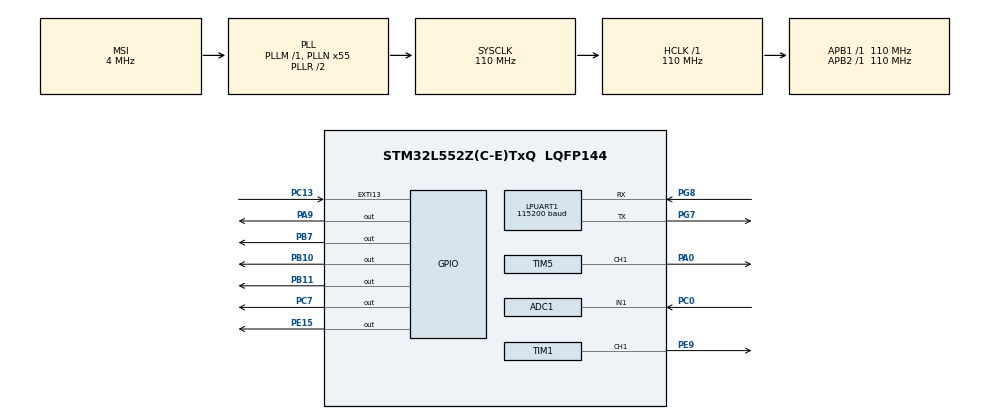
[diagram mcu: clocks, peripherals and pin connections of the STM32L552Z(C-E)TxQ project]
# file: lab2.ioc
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ADC1.Channel-0\#ChannelRegularConversion=ADC_CHANNEL_1
ADC1.NbrOfConversionFlag=1
ADC1.OffsetNumber-0\#ChannelRegularConversion=ADC_OFFSET_NONE
ADC1.Rank-0\#ChannelRegularConversion=1
ADC1.SamplingTime-0\#ChannelRegularConversion=ADC_SAMPLETIME_2CYCLES_5
ADC1.master=1
Dma.ADC1.0.Channel_PRIV_NPRIV=DMA_CHANNEL_NPRIV_DISABLE
Dma.ADC1.0.Direction=DMA_PERIPH_TO_MEMORY
Dma.ADC1.0.EventEnable=DISABLE
Dma.ADC1.0.Instance=DMA1_Channel1
Dma.ADC1.0.MemDataAlignment=DMA_MDATAALIGN_HALFWORD
Dma.ADC1.0.MemInc=DMA_MINC_ENABLE
Dma.ADC1.0.Mode=DMA_NORMAL
Dma.ADC1.0.PeriphDataAlignment=DMA_PDATAALIGN_HALFWORD
Dma.ADC1.0.PeriphInc=DMA_PINC_DISABLE
Dma.ADC1.0.Polarity=HAL_DMAMUX_REQ_GEN_RISING
Dma.ADC1.0.Priority=DMA_PRIORITY_LOW
Dma.ADC1.0.RequestNumber=1
Dma.ADC1.0.SignalID=NONE
Dma.ADC1.0.SyncEnable=DISABLE
Dma.ADC1.0.SyncPolarity=HAL_DMAMUX_SYNC_NO_EVENT
Dma.ADC1.0.SyncRequestNumber=1
Dma.ADC1.0.SyncSignalID=NONE
Dma.Request0=ADC1
FREERTOS.BinarySemaphores01=buttonSemaphore,Dynamic,NULL,Depleted;adcSemaphore,Dynamic,NULL,Depleted
FREERTOS.Queues01=logQueue,5,char *,0,Dynamic,NULL,NULL
FREERTOS.Tasks01=defaultTask,24,128,StartDefaultTask,Default,NULL,Dynamic,NULL,NULL;SysStatusTas,8,128,StartSysStatusTask,Default,NULL,Dynamic,NULL,NULL;LoggerTask,32,128,StartLoggerTask,Default,NULL,Dynamic,NULL,NULL;buttonTask,8,128,startButtonTask,Default,NULL,Dynamic,NULL,NULL;MotorTask,32,128,StartMotorTask,Default,NULL,Dynamic,NULL,NULL;UITask,8,128,StartUITask,Default,NULL,Dynamic,NULL,NULL
FREERTOS.Timers01=buzzerTimer,BuzzerTimerCallback,osTimerOnce,Default,NULL,Dynamic,NULL
LPUART1.BaudRate=115200
Mcu.Family=STM32L5
Mcu.Name=STM32L552Z(C-E)TxQ
Mcu.Package=LQFP144
Mcu.TrustZone=disable
NUCLEO-L552ZE-Q.BUTTON=1
NUCLEO-L552ZE-Q.Bsp_Common_DEMO=true
NUCLEO-L552ZE-Q.LD1=true
NUCLEO-L552ZE-Q.LD2=true
NUCLEO-L552ZE-Q.LD3=true
NUCLEO-L552ZE-Q.VCP=false
NVIC.ADC1_2_IRQn=true\:5\:0\:false\:false\:true\:true\:true\:true\:true
NVIC.DMA1_Channel1_IRQn=true\:5\:0\:false\:false\:true\:true\:false\:true\:true
NVIC.EXTI13_IRQn=true\:6\:0\:true\:false\:true\:true\:true\:true\:true
NVIC.PriorityGroup=NVIC_PRIORITYGROUP_3
PA0.Signal=S_TIM5_CH1
PA13\ (JTMS/SWDIO).Signal=DEBUG_JTMS-SWDIO
PA14\ (JTCK/SWCLK).Signal=DEBUG_JTCK-SWCLK
PA9.Signal=GPIO_Output
PB10.Signal=GPIO_Output
PB11.Signal=GPIO_Output
PB3\ (JTDO/TRACESWO).Signal=DEBUG_JTDO-SWO
PB7.Signal=GPIO_Output
PC0.Signal=ADCx_IN1
PC13.Signal=GPXTI13
PC14-OSC32_IN\ (PC14).Signal=RCC_OSC32_IN
PC15-OSC32_OUT\ (PC15).Signal=RCC_OSC32_OUT
PC7.Signal=GPIO_Output
PE15.Signal=GPIO_Output
PE9.Signal=S_TIM1_CH1
PG7.Mode=Asynchronous
PG7.Signal=LPUART1_TX
PG8.Mode=Asynchronous
PG8.Signal=LPUART1_RX
ProjectManager.HeapSize=0x200
ProjectManager.StackSize=0x400
ProjectManager.TargetToolchain=STM32CubeIDE
RCC.ADCCLockSelection=RCC_ADCCLKSOURCE_SYSCLK
RCC.ADCFreq_Value=110000000
RCC.AHBFreq_Value=110000000
RCC.APB1Freq_Value=110000000
RCC.APB1TimFreq_Value=110000000
RCC.APB2Freq_Value=110000000
RCC.APB2TimFreq_Value=110000000
RCC.CK48CLockSelection=RCC_USBCLKSOURCE_HSI48
RCC.CortexFreq_Value=110000000
RCC.HCLKFreq_Value=110000000
RCC.HSE_VALUE=8000000
RCC.HSI48_VALUE=48000000
RCC.HSI_VALUE=16000000
RCC.LSE_VALUE=32768
RCC.MSI_VALUE=4000000
RCC.PLLN=55
RCC.PLLSAI1N=24
RCC.RTCClockSelection=RCC_RTCCLKSOURCE_LSE
RCC.SYSCLKFreq_VALUE=110000000
RCC.SYSCLKSource=RCC_SYSCLKSOURCE_PLLCLK
RCC.USBFreq_Value=48000000
RCC.VCOOutputFreq_Value=220000000
SH.ADCx_IN1.0=ADC1_IN1,IN1-Single-Ended
SH.S_TIM1_CH1.0=TIM1_CH1,PWM Generation1 CH1
SH.S_TIM5_CH1.0=TIM5_CH1,PWM Generation1 CH1
TIM1.Channel-PWM\ Generation1\ CH1=TIM_CHANNEL_1
TIM5.Channel-PWM\ Generation1\ CH1=TIM_CHANNEL_1
VP_FREERTOS_VS_CMSIS_V2.Mode=CMSIS_V2
VP_ICACHE_VS_ICACHE.Mode=DirectMappedCache
VP_NUCLEO-L552ZE-Q_VS_BSP_COMMON.Mode=COMMON
VP_PWR_VS_DBSignals.Mode=DisableDeadBatterySignals
VP_PWR_VS_SECSignals.Mode=Security/Privilege
board=NUCLEO-L552ZE-Q

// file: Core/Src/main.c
/* USER CODE BEGIN Header */
/**
  ******************************************************************************
  * @file           : main.c
  * @brief          : Main program body
  ******************************************************************************
  * @attention
  *
  * Copyright (c) 2026 STMicroelectronics.
  * All rights reserved.
  *
  * This software is licensed under terms that can be found in the LICENSE file
  * in the root directory of this software component.
  * If no LICENSE file comes with this software, it is provided AS-IS.
  *
  ******************************************************************************
  */
/* USER CODE END Header */
#include "main.h"
#include "cmsis_os.h"

/* USER CODE BEGIN Includes */
#include <stdio.h>
#include <string.h>
/* USER CODE END Includes */

__IO uint32_t BspButtonState = BUTTON_RELEASED;
ADC_HandleTypeDef hadc1;
DMA_HandleTypeDef hdma_adc1;

UART_HandleTypeDef hlpuart1;

TIM_HandleTypeDef htim1;
TIM_HandleTypeDef htim5;

/* Definitions for defaultTask */
osThreadId_t defaultTaskHandle;
const osThreadAttr_t defaultTask_attributes = {
  .name = "defaultTask",
  .priority = (osPriority_t) osPriorityNormal,
  .stack_size = 128 * 4
};
/* Definitions for SysStatusTas */
osThreadId_t SysStatusTasHandle;
const osThreadAttr_t SysStatusTas_attributes = {
  .name = "SysStatusTas",
  .priority = (osPriority_t) osPriorityLow,
  .stack_size = 128 * 4
};
/* Definitions for LoggerTask */
osThreadId_t LoggerTaskHandle;
const osThreadAttr_t LoggerTask_attributes = {
  .name = "LoggerTask",
  .priority = (osPriority_t) osPriorityAboveNormal,
  .stack_size = 128 * 4
};
/* Definitions for buttonTask */
osThreadId_t buttonTaskHandle;
const osThreadAttr_t buttonTask_attributes = {
  .name = "buttonTask",
  .priority = (osPriority_t) osPriorityLow,
  .stack_size = 128 * 4
};
/* Definitions for MotorTask */
osThreadId_t MotorTaskHandle;
const osThreadAttr_t MotorTask_attributes = {
  .name = "MotorTask",
  .priority = (osPriority_t) osPriorityAboveNormal,
  .stack_size = 128 * 4
};
/* Definitions for UITask */
osThreadId_t UITaskHandle;
const osThreadAttr_t UITask_attributes = {
  .name = "UITask",
  .priority = (osPriority_t) osPriorityLow,
  .stack_size = 128 * 4
};
/* Definitions for logQueue */
osMessageQueueId_t logQueueHandle;
const osMessageQueueAttr_t logQueue_attributes = {
  .name = "logQueue"
};
/* Definitions for buzzerTimer */
osTimerId_t buzzerTimerHandle;
const osTimerAttr_t buzzerTimer_attributes = {
  .name = "buzzerTimer"
};
/* Definitions for buttonSemaphore */
osSemaphoreId_t buttonSemaphoreHandle;
const osSemaphoreAttr_t buttonSemaphore_attributes = {
  .name = "buttonSemaphore"
};
/* Definitions for adcSemaphore */
osSemaphoreId_t adcSemaphoreHandle;
const osSemaphoreAttr_t adcSemaphore_attributes = {
  .name = "adcSemaphore"
};
/* USER CODE BEGIN PV */
typedef enum {
    MOTOR_STOP = 0,
    MOTOR_CW,
    MOTOR_CCW
} MotorState_t;

volatile MotorState_t uiMotorState = MOTOR_STOP;
volatile uint32_t uiPwmDuty = 0;
/* USER CODE END PV */

void SystemClock_Config(void);
static void MX_GPIO_Init(void);
static void MX_DMA_Init(void);
static void MX_ICACHE_Init(void);
static void MX_TIM1_Init(void);
static void MX_TIM5_Init(void);
static void MX_ADC1_Init(void);
static void MX_LPUART1_UART_Init(void);
void StartDefaultTask(void *argument);
void StartSysStatusTask(void *argument);
void StartLoggerTask(void *argument);
void startButtonTask(void *argument);
void StartMotorTask(void *argument);
void StartUITask(void *argument);
void BuzzerTimerCallback(void *argument);

/* USER CODE BEGIN 0 */
void HAL_ADC_ConvCpltCallback(ADC_HandleTypeDef* hadc)
{
    if(hadc->Instance == ADC1)
    {
        osSemaphoreRelease(adcSemaphoreHandle); // Notify UI task
    }
}
/* USER CODE END 0 */

int main(void)
{

  /* MCU Configuration--------------------------------------------------------*/

  /* Reset of all peripherals, Initializes the Flash interface and the Systick. */
  HAL_Init();

  /* Configure the system clock */
  SystemClock_Config();

  /* Initialize all configured peripherals */
  MX_GPIO_Init();
  MX_DMA_Init();
  MX_ICACHE_Init();
  MX_TIM1_Init();
  MX_TIM5_Init();
  MX_ADC1_Init();
  MX_LPUART1_UART_Init();

  /* Init scheduler */
  osKernelInitialize();

  /* Create the semaphores(s) */
  /* creation of buttonSemaphore */
  buttonSemaphoreHandle = osSemaphoreNew(1, 0, &buttonSemaphore_attributes);

  /* creation of adcSemaphore */
  adcSemaphoreHandle = osSemaphoreNew(1, 0, &adcSemaphore_attributes);

  /* Create the timer(s) */
  /* creation of buzzerTimer */
  buzzerTimerHandle = osTimerNew(BuzzerTimerCallback, osTimerOnce, NULL, &buzzerTimer_attributes);

  /* Create the queue(s) */
  /* creation of logQueue */
  logQueueHandle = osMessageQueueNew (5, sizeof(char *), &logQueue_attributes);

  /* Create the thread(s) */
  /* creation of defaultTask */
  defaultTaskHandle = osThreadNew(StartDefaultTask, NULL, &defaultTask_attributes);

  /* creation of SysStatusTas */
  SysStatusTasHandle = osThreadNew(StartSysStatusTask, NULL, &SysStatusTas_attributes);

  /* creation of LoggerTask */
  LoggerTaskHandle = osThreadNew(StartLoggerTask, NULL, &LoggerTask_attributes);

  /* creation of buttonTask */
  buttonTaskHandle = osThreadNew(startButtonTask, NULL, &buttonTask_attributes);

  /* creation of MotorTask */
  MotorTaskHandle = osThreadNew(StartMotorTask, NULL, &MotorTask_attributes);

  /* creation of UITask */
  UITaskHandle = osThreadNew(StartUITask, NULL, &UITask_attributes);

  /* Initialize leds */
  BSP_LED_Init(LED_GREEN);
  BSP_LED_Init(LED_BLUE);
  BSP_LED_Init(LED_RED);

  /* Initialize USER push-button, will be used to trigger an interrupt each time it's pressed.*/
  BSP_PB_Init(BUTTON_USER, BUTTON_MODE_EXTI);

  /* USER CODE BEGIN BSP */

  /* -- Sample board code to send message over COM1 port ---- */

  /* USER CODE END BSP */

  /* Start scheduler */
  osKernelStart();

  /* We should never get here as control is now taken by the scheduler */

  /* Infinite loop */
  /* USER CODE BEGIN WHILE */
  while (1)
  {

    /* -- Sample board code for User push-button in interrupt mode ---- */
    /* USER CODE END WHILE */

  }
}

void SystemClock_Config(void)
{
  RCC_OscInitTypeDef RCC_OscInitStruct = {0};
  RCC_ClkInitTypeDef RCC_ClkInitStruct = {0};

  /** Configure the main internal regulator output voltage
  */
  if (HAL_PWREx_ControlVoltageScaling(PWR_REGULATOR_VOLTAGE_SCALE0) != HAL_OK)
  {
    Error_Handler();
  }

  /** Initializes the RCC Oscillators according to the specified parameters
  * in the RCC_OscInitTypeDef structure.
  */
  RCC_OscInitStruct.OscillatorType = RCC_OSCILLATORTYPE_MSI;
  RCC_OscInitStruct.MSIState = RCC_MSI_ON;
  RCC_OscInitStruct.MSICalibrationValue = RCC_MSICALIBRATION_DEFAULT;
  RCC_OscInitStruct.MSIClockRange = RCC_MSIRANGE_6;
  RCC_OscInitStruct.PLL.PLLState = RCC_PLL_ON;
  RCC_OscInitStruct.PLL.PLLSource = RCC_PLLSOURCE_MSI;
  RCC_OscInitStruct.PLL.PLLM = 1;
  RCC_OscInitStruct.PLL.PLLN = 55;
  RCC_OscInitStruct.PLL.PLLP = RCC_PLLP_DIV7;
  RCC_OscInitStruct.PLL.PLLQ = RCC_PLLQ_DIV2;
  RCC_OscInitStruct.PLL.PLLR = RCC_PLLR_DIV2;
  if (HAL_RCC_OscConfig(&RCC_OscInitStruct) != HAL_OK)
  {
    Error_Handler();
  }

  /** Initializes the CPU, AHB and APB buses clocks
  */
  RCC_ClkInitStruct.ClockType = RCC_CLOCKTYPE_HCLK|RCC_CLOCKTYPE_SYSCLK
                              |RCC_CLOCKTYPE_PCLK1|RCC_CLOCKTYPE_PCLK2;
  RCC_ClkInitStruct.SYSCLKSource = RCC_SYSCLKSOURCE_PLLCLK;
  RCC_ClkInitStruct.AHBCLKDivider = RCC_SYSCLK_DIV1;
  RCC_ClkInitStruct.APB1CLKDivider = RCC_HCLK_DIV1;
  RCC_ClkInitStruct.APB2CLKDivider = RCC_HCLK_DIV1;

  if (HAL_RCC_ClockConfig(&RCC_ClkInitStruct, FLASH_LATENCY_5) != HAL_OK)
  {
    Error_Handler();
  }
}

static void MX_ADC1_Init(void)
{

  ADC_MultiModeTypeDef multimode = {0};
  ADC_ChannelConfTypeDef sConfig = {0};

  /** Common config
  */
  hadc1.Instance = ADC1;
  hadc1.Init.ClockPrescaler = ADC_CLOCK_ASYNC_DIV1;
  hadc1.Init.Resolution = ADC_RESOLUTION_12B;
  hadc1.Init.DataAlign = ADC_DATAALIGN_RIGHT;
  hadc1.Init.ScanConvMode = ADC_SCAN_DISABLE;
  hadc1.Init.EOCSelection = ADC_EOC_SINGLE_CONV;
  hadc1.Init.LowPowerAutoWait = DISABLE;
  hadc1.Init.ContinuousConvMode = DISABLE;
  hadc1.Init.NbrOfConversion = 1;
  hadc1.Init.DiscontinuousConvMode = DISABLE;
  hadc1.Init.ExternalTrigConv = ADC_SOFTWARE_START;
  hadc1.Init.ExternalTrigConvEdge = ADC_EXTERNALTRIGCONVEDGE_NONE;
  hadc1.Init.DMAContinuousRequests = DISABLE;
  hadc1.Init.Overrun = ADC_OVR_DATA_PRESERVED;
  hadc1.Init.OversamplingMode = DISABLE;
  if (HAL_ADC_Init(&hadc1) != HAL_OK)
  {
    Error_Handler();
  }

  /** Configure the ADC multi-mode
  */
  multimode.Mode = ADC_MODE_INDEPENDENT;
  if (HAL_ADCEx_MultiModeConfigChannel(&hadc1, &multimode) != HAL_OK)
  {
    Error_Handler();
  }

  /** Configure Regular Channel
  */
  sConfig.Channel = ADC_CHANNEL_1;
  sConfig.Rank = ADC_REGULAR_RANK_1;
  sConfig.SamplingTime = ADC_SAMPLETIME_2CYCLES_5;
  sConfig.SingleDiff = ADC_SINGLE_ENDED;
  sConfig.OffsetNumber = ADC_OFFSET_NONE;
  sConfig.Offset = 0;
  if (HAL_ADC_ConfigChannel(&hadc1, &sConfig) != HAL_OK)
  {
    Error_Handler();
  }

}

static void MX_ICACHE_Init(void)
{

  /** Enable instruction cache in 1-way (direct mapped cache)
  */
  if (HAL_ICACHE_ConfigAssociativityMode(ICACHE_1WAY) != HAL_OK)
  {
    Error_Handler();
  }
  if (HAL_ICACHE_Enable() != HAL_OK)
  {
    Error_Handler();
  }

}

static void MX_LPUART1_UART_Init(void)
{

  hlpuart1.Instance = LPUART1;
  hlpuart1.Init.BaudRate = 115200;
  hlpuart1.Init.WordLength = UART_WORDLENGTH_8B;
  hlpuart1.Init.StopBits = UART_STOPBITS_1;
  hlpuart1.Init.Parity = UART_PARITY_NONE;
  hlpuart1.Init.Mode = UART_MODE_TX_RX;
  hlpuart1.Init.HwFlowCtl = UART_HWCONTROL_NONE;
  hlpuart1.Init.OneBitSampling = UART_ONE_BIT_SAMPLE_DISABLE;
  hlpuart1.Init.ClockPrescaler = UART_PRESCALER_DIV1;
  hlpuart1.AdvancedInit.AdvFeatureInit = UART_ADVFEATURE_NO_INIT;
  hlpuart1.FifoMode = UART_FIFOMODE_DISABLE;
  if (HAL_UART_Init(&hlpuart1) != HAL_OK)
  {
    Error_Handler();
  }
  if (HAL_UARTEx_SetTxFifoThreshold(&hlpuart1, UART_TXFIFO_THRESHOLD_1_8) != HAL_OK)
  {
    Error_Handler();
  }
  if (HAL_UARTEx_SetRxFifoThreshold(&hlpuart1, UART_RXFIFO_THRESHOLD_1_8) != HAL_OK)
  {
    Error_Handler();
  }
  if (HAL_UARTEx_DisableFifoMode(&hlpuart1) != HAL_OK)
  {
    Error_Handler();
  }

}

static void MX_TIM1_Init(void)
{

  TIM_MasterConfigTypeDef sMasterConfig = {0};
  TIM_OC_InitTypeDef sConfigOC = {0};
  TIM_BreakDeadTimeConfigTypeDef sBreakDeadTimeConfig = {0};

  htim1.Instance = TIM1;
  htim1.Init.Prescaler = 0;
  htim1.Init.CounterMode = TIM_COUNTERMODE_UP;
  htim1.Init.Period = 65535;
  htim1.Init.ClockDivision = TIM_CLOCKDIVISION_DIV1;
  htim1.Init.RepetitionCounter = 0;
  htim1.Init.AutoReloadPreload = TIM_AUTORELOAD_PRELOAD_DISABLE;
  if (HAL_TIM_PWM_Init(&htim1) != HAL_OK)
  {
    Error_Handler();
  }
  sMasterConfig.MasterOutputTrigger = TIM_TRGO_RESET;
  sMasterConfig.MasterOutputTrigger2 = TIM_TRGO2_RESET;
  sMasterConfig.MasterSlaveMode = TIM_MASTERSLAVEMODE_DISABLE;
  if (HAL_TIMEx_MasterConfigSynchronization(&htim1, &sMasterConfig) != HAL_OK)
  {
    Error_Handler();
  }
  sConfigOC.OCMode = TIM_OCMODE_PWM1;
  sConfigOC.Pulse = 0;
  sConfigOC.OCPolarity = TIM_OCPOLARITY_HIGH;
  sConfigOC.OCNPolarity = TIM_OCNPOLARITY_HIGH;
  sConfigOC.OCFastMode = TIM_OCFAST_DISABLE;
  sConfigOC.OCIdleState = TIM_OCIDLESTATE_RESET;
  sConfigOC.OCNIdleState = TIM_OCNIDLESTATE_RESET;
  if (HAL_TIM_PWM_ConfigChannel(&htim1, &sConfigOC, TIM_CHANNEL_1) != HAL_OK)
  {
    Error_Handler();
  }
  sBreakDeadTimeConfig.OffStateRunMode = TIM_OSSR_DISABLE;
  sBreakDeadTimeConfig.OffStateIDLEMode = TIM_OSSI_DISABLE;
  sBreakDeadTimeConfig.LockLevel = TIM_LOCKLEVEL_OFF;
  sBreakDeadTimeConfig.DeadTime = 0;
  sBreakDeadTimeConfig.BreakState = TIM_BREAK_DISABLE;
  sBreakDeadTimeConfig.BreakPolarity = TIM_BREAKPOLARITY_HIGH;
  sBreakDeadTimeConfig.BreakFilter = 0;
  sBreakDeadTimeConfig.BreakAFMode = TIM_BREAK_AFMODE_INPUT;
  sBreakDeadTimeConfig.Break2State = TIM_BREAK2_DISABLE;
  sBreakDeadTimeConfig.Break2Polarity = TIM_BREAK2POLARITY_HIGH;
  sBreakDeadTimeConfig.Break2Filter = 0;
  sBreakDeadTimeConfig.Break2AFMode = TIM_BREAK_AFMODE_INPUT;
  sBreakDeadTimeConfig.AutomaticOutput = TIM_AUTOMATICOUTPUT_DISABLE;
  if (HAL_TIMEx_ConfigBreakDeadTime(&htim1, &sBreakDeadTimeConfig) != HAL_OK)
  {
    Error_Handler();
  }
  HAL_TIM_MspPostInit(&htim1);

}

static void MX_TIM5_Init(void)
{

  TIM_MasterConfigTypeDef sMasterConfig = {0};
  TIM_OC_InitTypeDef sConfigOC = {0};

  htim5.Instance = TIM5;
  htim5.Init.Prescaler = 0;
  htim5.Init.CounterMode = TIM_COUNTERMODE_UP;
  htim5.Init.Period = 4294967295;
  htim5.Init.ClockDivision = TIM_CLOCKDIVISION_DIV1;
  htim5.Init.AutoReloadPreload = TIM_AUTORELOAD_PRELOAD_DISABLE;
  if (HAL_TIM_PWM_Init(&htim5) != HAL_OK)
  {
    Error_Handler();
  }
  sMasterConfig.MasterOutputTrigger = TIM_TRGO_RESET;
  sMasterConfig.MasterSlaveMode = TIM_MASTERSLAVEMODE_DISABLE;
  if (HAL_TIMEx_MasterConfigSynchronization(&htim5, &sMasterConfig) != HAL_OK)
  {
    Error_Handler();
  }
  sConfigOC.OCMode = TIM_OCMODE_PWM1;
  sConfigOC.Pulse = 0;
  sConfigOC.OCPolarity = TIM_OCPOLARITY_HIGH;
  sConfigOC.OCFastMode = TIM_OCFAST_DISABLE;
  if (HAL_TIM_PWM_ConfigChannel(&htim5, &sConfigOC, TIM_CHANNEL_1) != HAL_OK)
  {
    Error_Handler();
  }
  /* USER CODE BEGIN TIM5_Init 2 */
  // Reconfigure TIM5 for audible buzzer frequency (~2 kHz)
  // 110 MHz / (prescaler+1) / (period+1) = frequency
  // 110 MHz / 110 / 500 = 2 kHz
  htim5.Init.Prescaler = 109;
  htim5.Init.Period = 499;
  if (HAL_TIM_PWM_Init(&htim5) != HAL_OK)
  {
    Error_Handler();
  }
  /* USER CODE END TIM5_Init 2 */
  HAL_TIM_MspPostInit(&htim5);

}

static void MX_DMA_Init(void)
{

  /* DMA controller clock enable */
  __HAL_RCC_DMAMUX1_CLK_ENABLE();
  __HAL_RCC_DMA1_CLK_ENABLE();

  /* DMA interrupt init */
  /* DMA1_Channel1_IRQn interrupt configuration */
  HAL_NVIC_SetPriority(DMA1_Channel1_IRQn, 5, 0);
  HAL_NVIC_EnableIRQ(DMA1_Channel1_IRQn);

}

static void MX_GPIO_Init(void)
{
  GPIO_InitTypeDef GPIO_InitStruct = {0};

  /* GPIO Ports Clock Enable */
  __HAL_RCC_GPIOC_CLK_ENABLE();
  __HAL_RCC_GPIOA_CLK_ENABLE();
  __HAL_RCC_GPIOE_CLK_ENABLE();
  __HAL_RCC_GPIOB_CLK_ENABLE();
  __HAL_RCC_GPIOG_CLK_ENABLE();
  HAL_PWREx_EnableVddIO2();

  /*Configure GPIO pin Output Level */
  HAL_GPIO_WritePin(GPIOE, GPIO_PIN_15, GPIO_PIN_RESET);

  /*Configure GPIO pin Output Level */
  HAL_GPIO_WritePin(GPIOB, GPIO_PIN_10|GPIO_PIN_11, GPIO_PIN_RESET);

  /*Configure GPIO pin : PE15 */
  GPIO_InitStruct.Pin = GPIO_PIN_15;
  GPIO_InitStruct.Mode = GPIO_MODE_OUTPUT_PP;
  GPIO_InitStruct.Pull = GPIO_NOPULL;
  GPIO_InitStruct.Speed = GPIO_SPEED_FREQ_LOW;
  HAL_GPIO_Init(GPIOE, &GPIO_InitStruct);

  /*Configure GPIO pins : PB10 PB11 */
  GPIO_InitStruct.Pin = GPIO_PIN_10|GPIO_PIN_11;
  GPIO_InitStruct.Mode = GPIO_MODE_OUTPUT_PP;
  GPIO_InitStruct.Pull = GPIO_NOPULL;
  GPIO_InitStruct.Speed = GPIO_SPEED_FREQ_LOW;
  HAL_GPIO_Init(GPIOB, &GPIO_InitStruct);

}

void StartDefaultTask(void *argument)
{
  for(;;)
  {
    osDelay(1);
  }
}

void StartSysStatusTask(void *argument)
{
  /* USER CODE BEGIN StartSysStatusTask */
	static uint32_t tick = 0;
	const char *logMsg = "[LOG] System running...\r\n";
  /* Infinite loop */
  for(;;)
  {

	  tick += 500;
	  if (tick >= 1000)
	  {
	    osMessageQueuePut(logQueueHandle, &logMsg, 0, 0);
	    tick = 0;
	  }
	  vTaskDelay(pdMS_TO_TICKS(500));
  }
  /* USER CODE END StartSysStatusTask */
}

void StartLoggerTask(void *argument)
{
  /* USER CODE BEGIN StartLoggerTask */
	char *msg;
  /* Infinite loop */
  for(;;)
  {
	  if (osMessageQueueGet(logQueueHandle, &msg, NULL, osWaitForever) == osOK)
	  {
		HAL_UART_Transmit(&hlpuart1,
						  (uint8_t *)msg,
						  strlen(msg),
						  HAL_MAX_DELAY);
	  }
  }
  /* USER CODE END StartLoggerTask */
}

void startButtonTask(void *argument)
{
  /* USER CODE BEGIN startButtonTask */

	const char *msgStop = "[EVENT] Button: STOP\r\n";
	const char *msgCW = "[EVENT] Button: CW\r\n";
	const char *msgCCW = "[EVENT] Button: CCW\r\n";
	const char *logMsg;

	/* Infinite loop */
	for(;;)
	{
		// Wait for button press (blocks efficiently on semaphore)
		osSemaphoreAcquire(buttonSemaphoreHandle, osWaitForever);

		// Cycle motor state: STOP -> CW -> CCW -> STOP
		switch(uiMotorState)
		{
			case MOTOR_STOP:
				uiMotorState = MOTOR_CW;
				logMsg = msgCW;
				break;
			case MOTOR_CW:
				uiMotorState = MOTOR_CCW;
				logMsg = msgCCW;
				break;
			case MOTOR_CCW:
			default:
				uiMotorState = MOTOR_STOP;
				logMsg = msgStop;
				break;
		}

		// Log state change
		osMessageQueuePut(logQueueHandle, &logMsg, 0, 0);

		// Activate buzzer for 100ms using one-shot timer (non-blocking)
		// 50% duty cycle for 2kHz tone (period=499, so compare=250)
		__HAL_TIM_SET_COMPARE(&htim5, TIM_CHANNEL_1, 250);
		HAL_TIM_PWM_Start(&htim5, TIM_CHANNEL_1);
		osTimerStart(buzzerTimerHandle, 100);
	}
  /* USER CODE END startButtonTask */
}

void StartMotorTask(void *argument)
{
  /* USER CODE BEGIN StartMotorTask */

    TickType_t xLastWakeTime = xTaskGetTickCount();
    const TickType_t xPeriod = pdMS_TO_TICKS(15); // 15 ms periodic update

    // Start PWM timer
    HAL_TIM_PWM_Start(&htim1, TIM_CHANNEL_1);

    // Initialize motor outputs and LEDs to STOP
    uiMotorState = MOTOR_STOP;
    uiPwmDuty = 0;

    __HAL_TIM_SET_COMPARE(&htim1, TIM_CHANNEL_1, 0);
    HAL_GPIO_WritePin(GPIOE, GPIO_PIN_15, GPIO_PIN_RESET);      // STB
    HAL_GPIO_WritePin(GPIOB, GPIO_PIN_10|GPIO_PIN_11, GPIO_PIN_RESET); // Direction
    BSP_LED_On(LED_RED);
    BSP_LED_Off(LED_GREEN);
    BSP_LED_Off(LED_BLUE);

    for (;;)
    {
        // Apply motor outputs based on current motorState and pwmDuty
        switch (uiMotorState)
        {
            case MOTOR_STOP:
                __HAL_TIM_SET_COMPARE(&htim1, TIM_CHANNEL_1, 0);
                HAL_GPIO_WritePin(GPIOE, GPIO_PIN_15, GPIO_PIN_RESET);      // STB
                HAL_GPIO_WritePin(GPIOB, GPIO_PIN_10|GPIO_PIN_11, GPIO_PIN_RESET); // Direction
                BSP_LED_On(LED_RED);
                BSP_LED_Off(LED_GREEN);
                BSP_LED_Off(LED_BLUE);
                break;

            case MOTOR_CW:
                __HAL_TIM_SET_COMPARE(&htim1, TIM_CHANNEL_1, uiPwmDuty);
                HAL_GPIO_WritePin(GPIOE, GPIO_PIN_15, GPIO_PIN_SET);        // STB
                HAL_GPIO_WritePin(GPIOB, GPIO_PIN_10, GPIO_PIN_RESET);
                HAL_GPIO_WritePin(GPIOB, GPIO_PIN_11, GPIO_PIN_SET);
                BSP_LED_Off(LED_RED);
                BSP_LED_On(LED_GREEN);
                BSP_LED_Off(LED_BLUE);
                break;

            case MOTOR_CCW:
                __HAL_TIM_SET_COMPARE(&htim1, TIM_CHANNEL_1, uiPwmDuty);
                HAL_GPIO_WritePin(GPIOE, GPIO_PIN_15, GPIO_PIN_SET);        // STB
                HAL_GPIO_WritePin(GPIOB, GPIO_PIN_10, GPIO_PIN_SET);
                HAL_GPIO_WritePin(GPIOB, GPIO_PIN_11, GPIO_PIN_RESET);
                BSP_LED_Off(LED_RED);
                BSP_LED_Off(LED_GREEN);
                BSP_LED_On(LED_BLUE);
                break;
        }

        // Wait for next period (non-blocking, precise timing)
        vTaskDelayUntil(&xLastWakeTime, xPeriod);
    }

  /* USER CODE END StartMotorTask */
}

void StartUITask(void *argument)
{
  /* USER CODE BEGIN StartUITask */
  /* Infinite loop */
	TickType_t xLastWakeTime = xTaskGetTickCount();
	const TickType_t xPeriod = pdMS_TO_TICKS(30); // 30ms periodic (per lab requirements: 20-50ms)

	uint32_t adcValue = 0;

	for (;;)
	{
		// Start ADC conversion (non-blocking, interrupt-based)
		HAL_ADC_Start_IT(&hadc1);

		// Wait for ADC conversion (short timeout)
		if (osSemaphoreAcquire(adcSemaphoreHandle, pdMS_TO_TICKS(5)) == osOK)
		{
			adcValue = HAL_ADC_GetValue(&hadc1);

			// Potentiometer controls speed only (not state)
			// Map ADC value (0-4095) to PWM duty cycle (0-100%)
			// Speed is only applied when motor is running (not in STOP state)
			if (uiMotorState != MOTOR_STOP)
			{
				uiPwmDuty = (adcValue * htim1.Init.Period) / 4095;
			}
			// In STOP state, PWM must remain 0 regardless of potentiometer
		}

		// Wait until next period
		vTaskDelayUntil(&xLastWakeTime, xPeriod);
	}
  /* USER CODE END StartUITask */
}

/* BuzzerTimerCallback function */
void BuzzerTimerCallback(void *argument)
{
  /* USER CODE BEGIN BuzzerTimerCallback */
	HAL_TIM_PWM_Stop(&htim5, TIM_CHANNEL_1);
  /* USER CODE END BuzzerTimerCallback */
}

/**
  * @brief BSP Push Button callback
  * @param Button Specifies the pressed button
  * @retval None
  */
void BSP_PB_Callback(Button_TypeDef Button)
{
  if (Button == BUTTON_USER)
  {
    osSemaphoreRelease(buttonSemaphoreHandle);
  }
}

void Error_Handler(void)
{
  __disable_irq();
  while (1)
  {
  }
}
